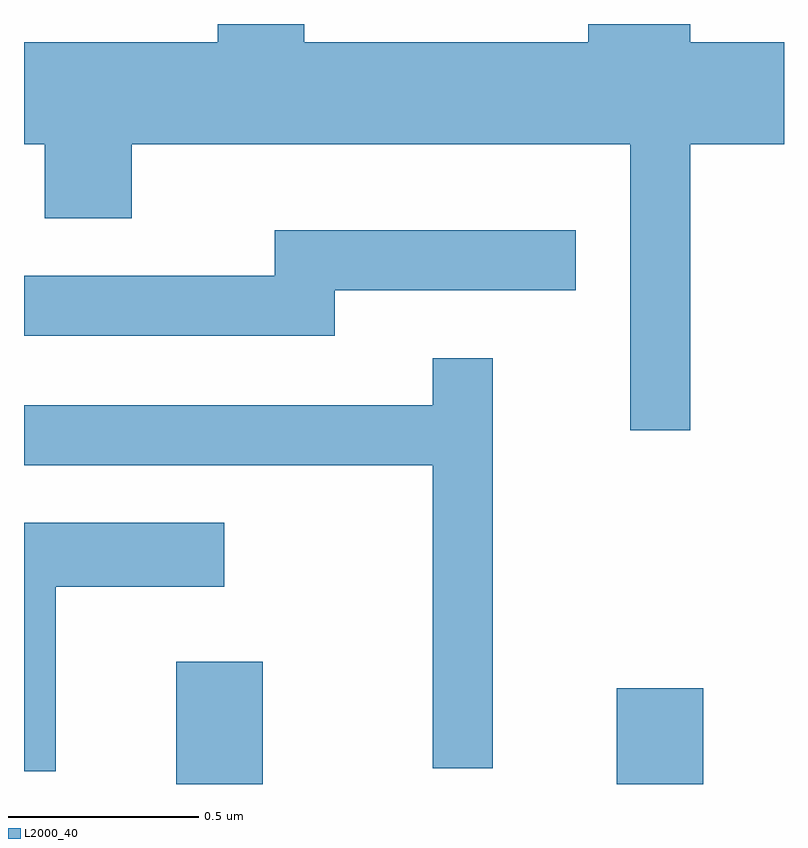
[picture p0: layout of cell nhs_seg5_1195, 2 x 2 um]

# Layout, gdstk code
import gdstk
lib = gdstk.Library(unit=1e-6, precision=1e-09)
def R(c, l, rs):  # rectangles x0, y0, x1, y1
    for r in rs: c.add(gdstk.rectangle(r[:2], r[2:], *l))
def P(c, l, *ps):  # polygons
    for p in ps: c.add(gdstk.Polygon(p, *l))
L2000_40 = (2000, 40)

nhs_seg5_1195 = lib.new_cell('nhs_seg5_1195')
R(nhs_seg5_1195, L2000_40, [(194.011,1495.072,194.239,1495.394), (195.171,1495.072,195.399,1495.324)])
P(nhs_seg5_1195, L2000_40, [(195.364,1496.756),(195.611,1496.756),(195.611,1497.024),(195.364,1497.024),(195.364,1497.072),(195.096,1497.072),(195.096,1497.024),(194.349,1497.024),(194.349,1497.072),(194.121,1497.072),(194.121,1497.024),(193.611,1497.024),(193.611,1496.756),(193.666,1496.756),(193.666,1496.561),(193.894,1496.561),(193.894,1496.756),(195.206,1496.756),(195.206,1496.003),(195.364,1496.003)],
  [(194.429,1496.371),(195.063,1496.371),(195.063,1496.529),(194.271,1496.529),(194.271,1496.409),(193.611,1496.409),(193.611,1496.251),(194.429,1496.251)],
  [(194.844,1496.193),(194.686,1496.193),(194.686,1496.069),(193.611,1496.069),(193.611,1495.911),(194.686,1495.911),(194.686,1495.113),(194.844,1495.113)],
  [(193.694,1495.591),(194.138,1495.591),(194.138,1495.759),(193.611,1495.759),(193.611,1495.106),(193.694,1495.106)])

lib.write_gds('nhs_seg5_1195.gds')
